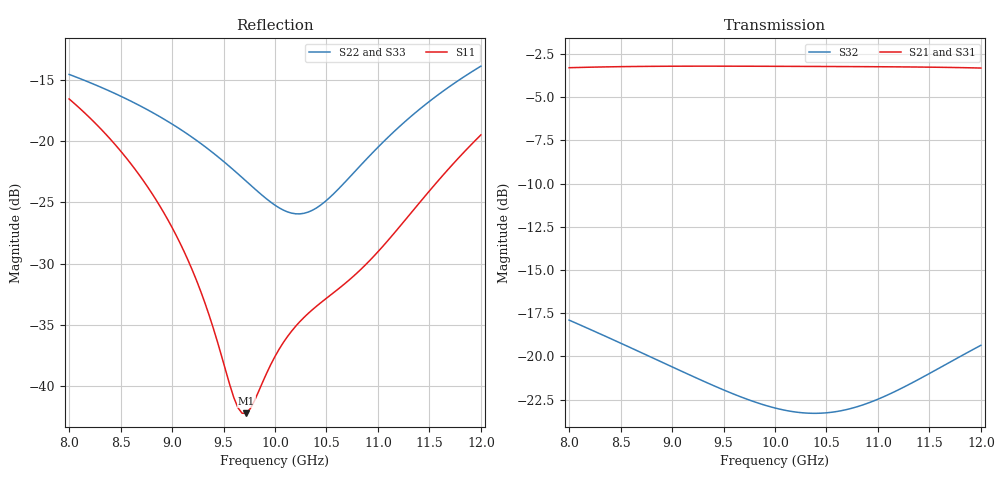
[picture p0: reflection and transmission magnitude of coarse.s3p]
! yapnr rf: wilkinson-x10, binary design on the optimization grid
! spec sha256 873f85794a61544b0bb32f7d4ed76952a4a3fe576a48ff2aa00e031ce3428988
! renormalized to 50 ohm, e^(+jwt) convention
# GHz S RI R 50
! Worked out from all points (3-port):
!   101 points, 8 GHz to 12 GHz, reference 50 ohm
!   strongest paths, dB at 8 GHz, 9 GHz, 10 GHz, 11 GHz, 12 GHz:
!     S21: -3.3, -3.2, -3.2, -3.2, -3.3
!     S31: -3.3, -3.2, -3.2, -3.2, -3.3
!     S32: -17.9, -20.6, -23.0, -22.5, -19.4
!   lowest |S11| = -42.3 dB at 9.72 GHz (marker M1), VSWR 1.02, Z = 50.4 + j0.665 ohm
!   |S11| at or under -10 dB: start of sweep to end of sweep
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8  0.1257 0.0805  -0.4689 0.5042  -0.4689 0.5042
   -0.4662 0.5013  -0.0291 0.1859  0.1105 -0.0634
   -0.4662 0.5013  0.1105 -0.0634  -0.0291 0.1859
8.52  0.0855 0.0258  -0.3097 0.6209  -0.3097 0.6209
      -0.3076 0.6171  0.0133 0.1513  0.0524 -0.0951
      -0.3076 0.6171  0.0524 -0.0951  0.0133 0.1513
8.96  0.0475 0.00411  -0.1519 0.6791  -0.1519 0.6791
      -0.1505 0.6747  0.039 0.1142  0.000392 -0.0945
      -0.1505 0.6747  0.000392 -0.0945  0.039 0.1142
9.28  0.0242 0.000557  -0.0305 0.6957  -0.0305 0.6957
      -0.0297 0.691  0.0512 0.0836  -0.0322 -0.0792
      -0.0297 0.691  -0.0322 -0.0792  0.0512 0.0836
9.6  0.00792 0.00413  0.092 0.6903  0.092 0.6903
     0.092 0.6853  0.0572 0.0505  -0.0562 -0.0539
     0.092 0.6853  -0.0562 -0.0539  0.0572 0.0505
9.72  0.00398 0.00659  0.1374 0.6826  0.1374 0.6826
      0.1372 0.6776  0.0576 0.0375  -0.0623 -0.0425
      0.1372 0.6776  -0.0623 -0.0425  0.0576 0.0375
10  -0.000282 0.0132  0.2407 0.653  0.2407 0.653
    0.2397 0.6481  0.0544 0.00678  -0.0696 -0.0137
    0.2397 0.6481  -0.0696 -0.0137  0.0544 0.00678
10.4  0.00517 0.0204  0.3779 0.5836  0.3779 0.5836
      0.376 0.5789  0.0384 -0.037  -0.0626 0.0279
      0.376 0.5789  -0.0626 0.0279  0.0384 -0.037
11.24  0.0462 0.00258  0.6001 0.347  0.6001 0.347
       0.5965 0.3434  -0.0431 -0.1101  0.00879 0.0807
       0.5965 0.3434  0.00879 0.0807  -0.0431 -0.1101
12  0.0781 -0.0722  0.6857 0.0582  0.6857 0.0582
    0.6808 0.0563  -0.1644 -0.1197  0.0935 0.0535
    0.6808 0.0563  0.0935 0.0535  -0.1644 -0.1197
